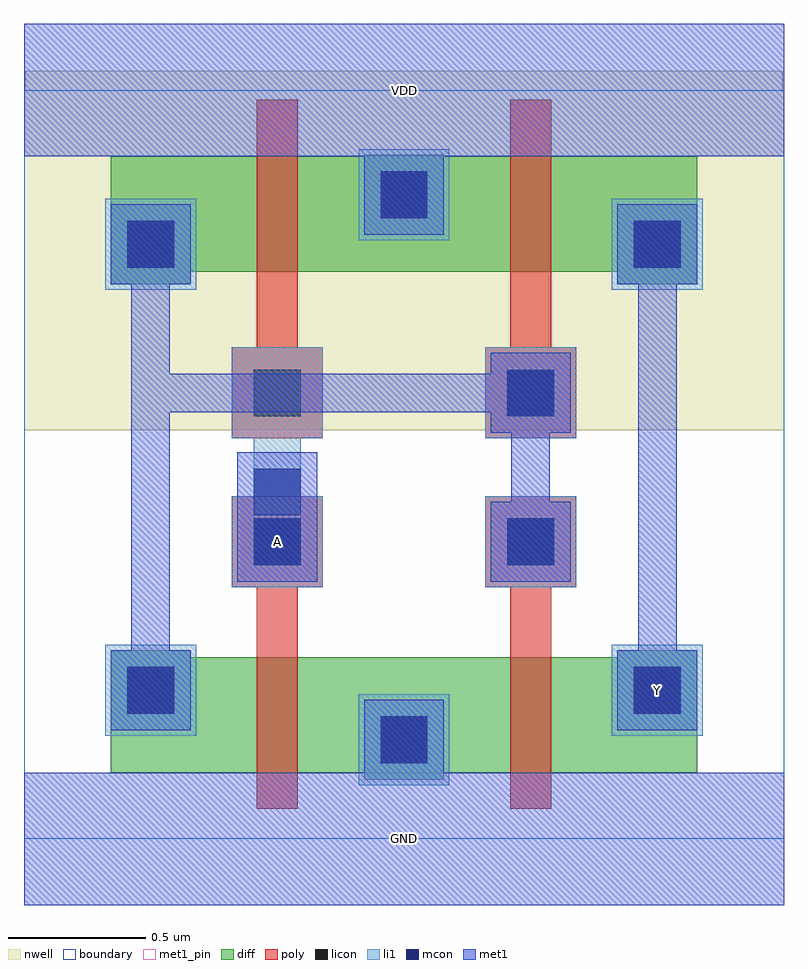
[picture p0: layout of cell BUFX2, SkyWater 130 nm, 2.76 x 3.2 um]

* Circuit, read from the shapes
.subckt BUFX2 A GND VDD Y
XM1 GND A n1 VSUBS sky130_fd_pr__nfet_01v8 w=0.42 l=0.15
XM2 Y n1 GND VSUBS sky130_fd_pr__nfet_01v8 w=0.42 l=0.15
XM3 VDD A n1 n2 sky130_fd_pr__pfet_01v8 w=0.42 l=0.15
XM4 Y n1 VDD n2 sky130_fd_pr__pfet_01v8 w=0.42 l=0.15
.ends

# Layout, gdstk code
import gdstk
lib = gdstk.Library(unit=1e-6, precision=1e-09)
def R(c, l, rs):  # rectangles x0, y0, x1, y1
    for r in rs: c.add(gdstk.rectangle(r[:2], r[2:], *l))
def P(c, l, *ps):  # polygons
    for p in ps: c.add(gdstk.Polygon(p, *l))
nwell = (64, 20)
diff = (65, 20)
poly = (66, 20)
licon = (66, 44)
li1 = (67, 20)
mcon = (67, 44)
met1_pin = (68, 16)
met1 = (68, 20)
boundary = (235, 4)

bufx2 = lib.new_cell('BUFX2')
P(bufx2, nwell, [(0,1.485),(0,2.72),(0.005,2.72),(0.005,2.79),(2.755,2.79),(2.755,2.72),(2.76,2.72),(2.76,1.485)])
P(bufx2, diff, [(1.235,0.215),(1.235,0.24),(0.315,0.24),(0.315,0.685),(0.605,0.685),(0.605,0.66),(2.155,0.66),(2.155,0.685),(2.445,0.685),(2.445,0.24),(1.525,0.24),(1.525,0.215)],
  [(0.315,2.015),(0.315,2.48),(1.235,2.48),(1.235,2.485),(1.525,2.485),(1.525,2.48),(2.445,2.48),(2.445,2.015),(2.155,2.015),(2.155,2.06),(0.605,2.06),(0.605,2.015)])
P(bufx2, poly, [(0.845,0.11),(0.845,0.915),(0.755,0.915),(0.755,1.245),(1.085,1.245),(1.085,0.915),(0.995,0.915),(0.995,0.11)],
  [(1.765,0.11),(1.765,0.915),(1.675,0.915),(1.675,1.245),(2.005,1.245),(2.005,0.915),(1.915,0.915),(1.915,0.11)],
  [(0.755,1.455),(0.755,1.785),(0.845,1.785),(0.845,2.685),(0.995,2.685),(0.995,1.785),(1.085,1.785),(1.085,1.455)],
  [(1.675,1.455),(1.675,1.785),(1.765,1.785),(1.765,2.685),(1.915,2.685),(1.915,1.785),(2.005,1.785),(2.005,1.455)])
R(bufx2, licon, [(1.295,0.275,1.465,0.445), (0.375,0.455,0.545,0.625), (2.215,0.455,2.385,0.625), (0.835,0.995,1.005,1.165), (1.755,0.995,1.925,1.165), (0.835,1.535,1.005,1.705), (1.755,1.535,1.925,1.705), (0.375,2.075,0.545,2.245), (2.215,2.075,2.385,2.245), (1.295,2.255,1.465,2.425)])
R(bufx2, li1, [(1.215,0.195,1.545,0.525), (0.295,0.375,0.625,0.705), (2.135,0.375,2.465,0.705), (1.675,0.915,2.005,1.245), (1.675,1.455,2.005,1.785), (0.295,1.995,0.625,2.325), (2.135,1.995,2.465,2.325), (1.215,2.175,1.545,2.505)])
P(bufx2, li1, [(0.755,0.915),(0.755,1.245),(0.835,1.245),(0.835,1.455),(0.755,1.455),(0.755,1.785),(1.085,1.785),(1.085,1.455),(1.005,1.455),(1.005,1.245),(1.085,1.245),(1.085,0.915)])
R(bufx2, mcon, [(1.295,0.275,1.465,0.445), (0.375,0.455,0.545,0.625), (2.215,0.455,2.385,0.625), (0.835,0.995,1.005,1.165), (1.755,0.995,1.925,1.165), (0.835,1.175,1.005,1.345), (1.755,1.535,1.925,1.705), (0.375,2.075,0.545,2.245), (2.215,2.075,2.385,2.245), (1.295,2.255,1.465,2.425)])
R(bufx2, met1_pin, [(0,-0.24,2.76,0.24), (0.775,0.935,1.065,1.405), (0,2.48,2.76,2.96)])
P(bufx2, met1_pin, [(2.155,0.395),(2.155,0.685),(2.23,0.685),(2.23,2.015),(2.155,2.015),(2.155,2.305),(2.445,2.305),(2.445,2.015),(2.37,2.015),(2.37,0.685),(2.445,0.685),(2.445,0.395)])
R(bufx2, met1, [(0.775,0.935,1.065,1.405)])
P(bufx2, met1, [(0,-0.24),(0,0.24),(1.235,0.24),(1.235,0.505),(1.525,0.505),(1.525,0.24),(2.76,0.24),(2.76,-0.24)],
  [(0.315,0.395),(0.315,0.685),(0.39,0.685),(0.39,2.015),(0.315,2.015),(0.315,2.305),(0.605,2.305),(0.605,2.015),(0.53,2.015),(0.53,1.69),(1.695,1.69),(1.695,1.765),(1.985,1.765),(1.985,1.475),(1.91,1.475),(1.91,1.225),(1.985,1.225),(1.985,0.935),(1.695,0.935),(1.695,1.225),(1.77,1.225),(1.77,1.475),(1.695,1.475),(1.695,1.55),(0.53,1.55),(0.53,0.685),(0.605,0.685),(0.605,0.395)],
  [(2.155,0.395),(2.155,0.685),(2.23,0.685),(2.23,2.015),(2.155,2.015),(2.155,2.305),(2.445,2.305),(2.445,2.015),(2.37,2.015),(2.37,0.685),(2.445,0.685),(2.445,0.395)],
  [(1.235,2.195),(1.235,2.48),(0,2.48),(0,2.96),(2.76,2.96),(2.76,2.48),(1.525,2.48),(1.525,2.195)])
R(bufx2, boundary, [(0,0,2.76,2.72)])
bufx2.add(gdstk.Label('Y', (2.3,0.54), layer=68, texttype=5))
bufx2.add(gdstk.Label('A', (0.92,1.08), layer=68, texttype=5))
bufx2.add(gdstk.Label('GND', (1.38,0), layer=68, texttype=5))
bufx2.add(gdstk.Label('VDD', (1.38,2.72), layer=68, texttype=5))

lib.write_gds('BUFX2.gds')
